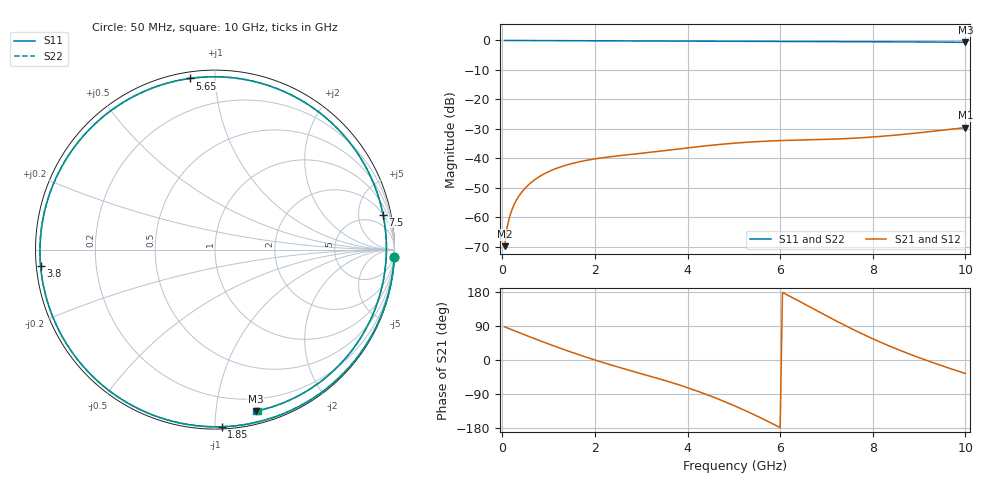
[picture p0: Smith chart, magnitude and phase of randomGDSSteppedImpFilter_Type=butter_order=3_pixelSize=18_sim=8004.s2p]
! freq	dB(S11)	phase(S11)	dB(S12)	phase(S12)
!  dB(S21)	phase(S21)	dB(S22)	phase(S22)
!S-par simulation data
#  GHz  S  DB  R 50
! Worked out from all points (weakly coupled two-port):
!   200 points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, 50 MHz to 10 GHz, reference 50 ohm
!   highest |S21| = -29.54 dB at 10 GHz (marker M1); lowest = -69.7 dB at 50 MHz (marker M2)
!   lowest |S11| = -0.6 dB at 10 GHz (marker M3), VSWR 27.08, Z = 4.88 - j64 ohm
!   |S11| at or under -10 dB: nowhere
!   |S22| runs from -0.6 to 0.0 dB; largest |S21 - S12| = 0
!   S11 on the Smith chart (normalised r, x): 50 MHz: 0, -46; 1.85 GHz: 0.01, -1.04; 3.8 GHz: 0.01, -0.05; 5.65 GHz: 0.03, +0.86; 7.5 GHz: 2.01, +9.25; 10 GHz: 0.10, -1.28
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0.05  -0.00 -2.5  -69.73 87.5  -69.73 87.5  -0.00 -2.5
0.1  -0.01 -4.9  -63.72 85.0  -63.72 85.0  -0.01 -4.9
0.2  -0.01 -9.8  -57.74 80.1  -57.74 80.1  -0.01 -9.8
0.35  -0.03 -17.1  -52.95 72.9  -52.95 72.9  -0.03 -17.1
0.5  -0.03 -24.4  -49.95 65.7  -49.95 65.7  -0.03 -24.4
1.15  -0.07 -55.4  -43.47 35.5  -43.47 35.5  -0.07 -55.4
1.75  -0.10 -83.3  -40.84 10.0  -40.84 10.0  -0.10 -83.3
1.85  -0.11 -87.9  -40.54 5.9  -40.54 5.9  -0.11 -87.8
2.55  -0.14 -119.3  -39.01 -20.4  -39.01 -20.4  -0.14 -119.2
3.4  -0.19 -156.9  -37.54 -50.0  -37.54 -50.0  -0.19 -156.7
3.8  -0.21 -174.7  -36.79 -65.0  -36.79 -65.0  -0.21 -174.4
4.4  -0.25 158.0  -35.71 -90.6  -35.71 -90.6  -0.25 158.4
5.05  -0.29 127.4  -34.77 -122.8  -34.77 -122.8  -0.29 128.0
5.65  -0.32 98.5  -34.17 -156.9  -34.17 -156.9  -0.32 99.2
6.15  -0.34 74.1  -33.86 172.0  -33.86 172.0  -0.34 74.9
6.7  -0.36 47.8  -33.64 136.1  -33.64 136.1  -0.36 48.7
7.1  -0.37 29.4  -33.46 110.1  -33.46 110.1  -0.37 30.3
7.5  -0.39 11.8  -33.20 85.1  -33.20 85.1  -0.38 12.7
7.9  -0.41 -4.8  -32.83 61.6  -32.83 61.6  -0.40 -3.9
8.35  -0.43 -22.2  -32.28 37.4  -32.28 37.4  -0.43 -21.4
9.15  -0.51 -50.1  -31.04 -0.5  -31.04 -0.5  -0.51 -49.3
10  -0.64 -75.8  -29.54 -35.7  -29.54 -35.7  -0.64 -75.1
